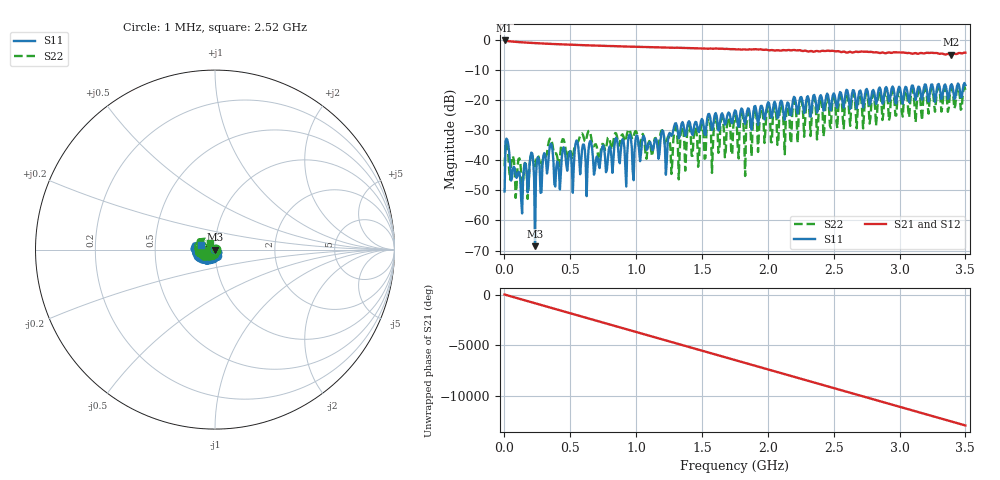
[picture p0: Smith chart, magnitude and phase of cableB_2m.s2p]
# GHZ S RI R 50.000000000000
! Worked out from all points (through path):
!   501 points, 1 MHz to 3.5 GHz, reference 50 ohm
!   highest |S21| = -0.06 dB at 1 MHz (marker M1); lowest = -4.8 dB at 3.388 GHz (marker M2)
!   group delay of S21, straight-line fit = 10.2 ns
!   lowest |S11| = -68.6 dB at 231.9 MHz (marker M3), VSWR 1.00, Z = 50 + j0.019 ohm
!   |S11| at or under -10 dB: start of sweep to end of sweep
!   |S22| runs from -52.8 to -15.6 dB; largest |S21 - S12| = 0.022
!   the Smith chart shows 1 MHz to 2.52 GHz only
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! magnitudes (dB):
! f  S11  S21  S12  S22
! 1 MHz  -50.3  -0.1  -0.1  -41.9
! 21.99 MHz  -33.2  -0.2  -0.2  -35.0
! 127 MHz  -53.2  -0.7  -0.7  -44.6
! 203.9 MHz  -37.4  -0.9  -0.9  -37.7
! 231.9 MHz  -68.6  -0.9  -0.9  -41.9
! 350.9 MHz  -34.4  -1.2  -1.2  -32.6
! 385.9 MHz  -48.7  -1.3  -1.3  -37.6
! 588.8 MHz  -36.5  -1.6  -1.6  -31.0
! 721.8 MHz  -42.5  -1.8  -1.8  -40.1
! 847.8 MHz  -32.5  -2.0  -2.0  -31.0
! 924.7 MHz  -48.7  -2.1  -2.1  -32.5
! 945.7 MHz  -31.6  -2.1  -2.1  -29.6
! 980.7 MHz  -46.6  -2.1  -2.1  -32.1
! 1.002 GHz  -31.7  -2.2  -2.2  -30.4
! 1.17 GHz  -39.5  -2.4  -2.4  -35.4
! 1.75 GHz  -23.3  -3.0  -3.0  -25.0
! 1.827 GHz  -27.8  -3.1  -3.1  -45.2
! 1.904 GHz  -21.9  -3.0  -2.9  -22.7
! 2.338 GHz  -20.3  -3.7  -3.8  -21.7
! 2.919 GHz  -20.3  -4.0  -4.1  -26.7
! 3.388 GHz  -15.1  -4.8  -4.5  -16.1
! 3.5 GHz  -14.9  -4.1  -4.2  -16.5
